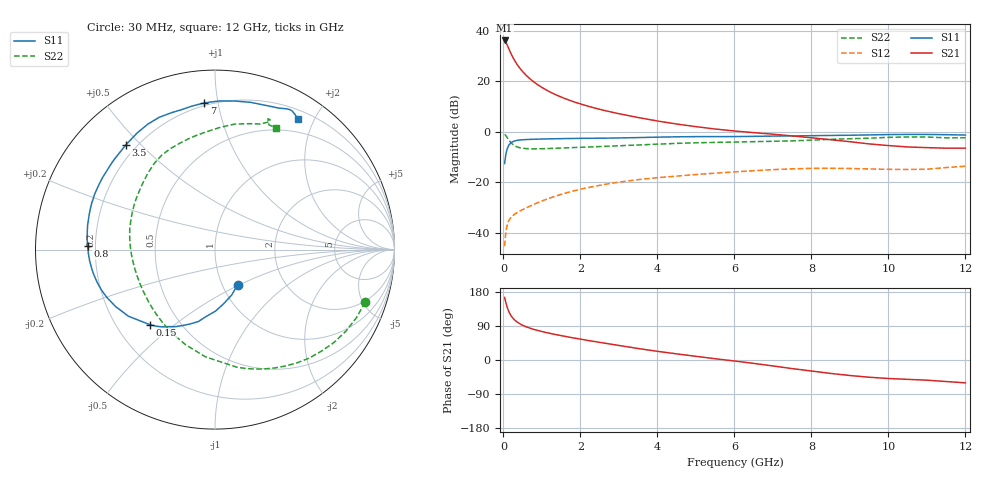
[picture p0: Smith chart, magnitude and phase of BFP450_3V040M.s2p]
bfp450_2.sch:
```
<Qucs Schematic 0.0.19>
<Properties>
  <View=-104,-430,850,1317,0.767173,0,0>
  <Grid=10,10,1>
  <DataSet=bfp450_2.dat>
  <DataDisplay=bfp450_2.dpl>
  <OpenDisplay=1>
  <Script=bfp450_2.m>
  <RunScript=0>
  <showFrame=0>
  <FrameText0=Title>
  <FrameText1=Drawn By:>
  <FrameText2=Date:>
  <FrameText3=Revision:>
</Properties>
<Symbol>
</Symbol>
<Components>
  <SPfile X1 1 310 80 -26 -53 0 0 "BFP450_3V040M.s2p" 1 "rectangular" 0 "linear" 0 "open" 0 "2" 0>
  <GND * 1 310 110 0 0 0 0>
  <L L3 1 250 80 -26 10 0 0 "3.39nH" 1 "" 0>
  <L L10 1 280 10 -87 -26 0 3 "56nH" 1 "" 0>
  <R R7 1 410 -100 15 -26 0 1 "50Ohm" 1 "26.85" 0 "0.0" 0 "0.0" 0 "26.85" 0 "european" 0>
  <R R4 1 530 80 -26 -47 0 2 "3.5Ohm" 1 "26.85" 0 "0.0" 0 "0.0" 0 "26.85" 0 "european" 0>
  <C C10 1 430 80 -52 10 1 2 "41.1255pF" 1 "" 0 "neutral" 0>
  <C C5 1 80 80 -26 -49 0 2 "100n" 1 "" 0 "neutral" 0>
  <Pac P1 1 -10 110 18 -26 0 1 "1" 1 "50 Ohm" 1 "0 dBm" 0 "1 GHz" 0 "26.85" 0>
  <GND * 1 -10 140 0 0 0 0>
  <C C7 1 630 80 -26 -49 0 2 "100n" 1 "" 0 "neutral" 0>
  <GND * 1 120 250 0 0 0 0>
  <R R1 1 120 220 15 -26 0 1 "0.2Ohm" 1 "26.85" 0 "0.0" 0 "0.0" 0 "26.85" 0 "european" 0>
  <C C3 1 120 160 17 -26 0 1 "5.68261pF" 1 "" 0 "neutral" 0>
  <GND * 1 580 230 0 0 0 0>
  <R R3 1 580 200 15 -26 0 1 "3Ohm" 1 "26.85" 0 "0.0" 0 "0.0" 0 "26.85" 0 "european" 0>
  <L L13 1 580 140 -87 -26 0 3 "9.54728nH" 1 "" 0>
  <L L14 1 380 -170 -87 -26 0 3 "1000nH" 1 "" 0>
  <GND * 1 380 -200 0 0 0 2>
  <L L9 1 410 -40 -87 -26 0 3 "50nH" 1 "" 0>
  <GND * 1 560 -160 0 0 0 1>
  <C C8 1 530 -160 -52 10 1 2 "1.6pF" 1 "" 0 "neutral" 0>
  <Pac P5 1 690 110 18 -26 0 1 "2" 1 "50 Ohm" 1 "0 dBm" 0 "1 GHz" 0 "26.85" 0>
  <GND * 1 690 140 0 0 0 0>
  <GND * 1 220 -90 0 0 0 1>
  <R R10 0 190 -90 -26 15 0 0 "4733 Ohm" 1 "26.85" 0 "0.0" 0 "0.0" 0 "26.85" 0 "european" 0>
  <GND * 1 230 -170 0 0 0 1>
  <GND * 1 10 -170 0 0 0 3>
  <GND * 1 120 -230 0 0 0 2>
  <C C6 1 120 -200 -62 -26 0 3 "220n" 1 "" 0 "neutral" 0>
  <R R8 1 40 -170 -26 15 0 0 "87 Ohm" 1 "26.85" 0 "0.0" 0 "0.0" 0 "26.85" 0 "european" 0>
  <R R9 1 200 -170 -26 15 0 0 "213 Ohm" 1 "26.85" 0 "0.0" 0 "0.0" 0 "26.85" 0 "european" 0>
  <R R2 1 170 80 -26 -47 1 0 "0.20 Ohm" 1 "26.85" 0 "0.0" 0 "0.0" 0 "26.85" 0 "european" 0>
  <.SP SP1 1 -10 300 0 74 0 0 "lin" 1 "0.03 GHz" 1 "12 GHz" 1 "2000" 1 "yes" 0 "1" 0 "2" 0 "no" 0 "no" 0>
  <Eqn Eqn1 1 160 310 -28 15 0 0 "K=StabFactor(S)" 1 "S11dB=dB(S[1,1])" 1 "S21dB=dB(S[2,1])" 1 "S22dB=dB(S[2,2])" 1 "Fmindb=w2dbm(Fmin)-30" 1 "Fdb=w2dbm(F)-30" 1 "yes" 0>
  <.SP SP2 0 290 270 0 74 0 0 "const" 1 "0.03 GHz" 0 "12 GHz" 0 "[900MHz]" 1 "yes" 0 "1" 0 "2" 0 "no" 0 "no" 0>
  <Eqn Eqn2 0 480 270 -28 15 0 0 "GA=GaCircle(S,linspace(50,200,16))" 1 "GP=GpCircle(S,linspace(50,200,16))" 1 "SL=StabCircleL(S)" 1 "SG=StabCircleS(S)" 1 "NF=NoiseCircle(Sopt,Fmin,Rn,[Fmin,1.4,1.5,2,2.5,3])" 1 "yes" 0>
</Components>
<Wires>
  <280 40 280 80 "" 0 0 0 "">
  <560 80 580 80 "" 0 0 0 "">
  <340 80 380 80 "" 0 0 0 "">
  <460 80 500 80 "" 0 0 0 "">
  <200 80 220 80 "" 0 0 0 "">
  <120 80 140 80 "" 0 0 0 "">
  <110 80 120 80 "" 0 0 0 "">
  <-10 80 50 80 "" 0 0 0 "">
  <120 80 120 130 "" 0 0 0 "">
  <580 80 600 80 "" 0 0 0 "">
  <580 80 580 110 "" 0 0 0 "">
  <380 -70 410 -70 "" 0 0 0 "">
  <380 -140 380 -70 "" 0 0 0 "">
  <410 -160 500 -160 "" 0 0 0 "">
  <410 -160 410 -130 "" 0 0 0 "">
  <380 80 400 80 "" 0 0 0 "">
  <380 -10 380 80 "" 0 0 0 "">
  <380 -10 410 -10 "" 0 0 0 "">
  <660 80 690 80 "" 0 0 0 "">
  <120 -20 280 -20 "" 0 0 0 "">
  <120 -90 120 -20 "" 0 0 0 "">
  <120 -90 160 -90 "" 0 0 0 "">
  <120 -170 120 -90 "" 0 0 0 "">
  <70 -170 120 -170 "" 0 0 0 "">
  <120 -170 170 -170 "" 0 0 0 "">
</Wires>
<Diagrams>
</Diagrams>
<Paintings>
  <Text 230 20 12 #000000 0 "0.87V">
  <Text 420 -210 12 #000000 0 "This is the 3V supply">
  <Text 150 -240 12 #000000 0 "Voltage divider to \ndivide 3V to 0.87V">
  <Text 30 -9 12 #000000 90 "Alternatively \ndrop to 0.87V\nby passing \n0.45mA">
  <Text 100 -330 14 #000000 0 "Transistor Amplifier with Matching Networks\nand Biasing.">
  <Text 540 260 12 #ff0000 0 "Deactivate, if simulation other than\nSP2 is used">
</Paintings>
```
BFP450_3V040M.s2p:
! Infineon Technologies  Discrete & RF Semiconductors
! BFP450
! VCE =  3.0 V,  IC =  40 mA
! Common Emitter S-Parameters:  Sep 2010
# GHz  S  MA  R  50
!  f  S11  S21  S12  S22
! GHz  MAG  ANG  MAG  ANG  MAG  ANG  MAG  ANG
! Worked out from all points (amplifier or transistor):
!   58 points, 30 MHz to 12 GHz, reference 50 ohm
!   highest |S21| = 36.2 dB at 30 MHz (marker M1)
!   |S21| within 3 dB of that: start of sweep to 130.9 MHz
!   unconditionally stable (mu >= 1): 1.283 GHz to end of sweep
!   at 120 MHz: K = 0.27, MSG = 34.8 dB, |S12| = -36.0 dB
!   at 1.5 GHz: K = 1.03, MAG = 18.1 dB, |S12| = -24.8 dB
!   at 12 GHz: K = 1.09, MAG = 1.7 dB, |S12| = -13.6 dB
!   lowest NFmin = 1.41 dB at 450 MHz
!   S11 on the Smith chart (normalised r, x): 30 MHz: 1.18, -0.49; 150 MHz: 0.34, -0.41; 800 MHz: 0.17, +0.01; 3.5 GHz: 0.16, +0.45; 7 GHz: 0.18, +0.91; 12 GHz: 0.32, +1.78
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0.03  0.2335 -57.5  64.36 165.3  0.0054 76.0  0.8866 -19.3
0.08  0.411 -103.0  55.8 145.0  0.0123 62.8  0.8006 -49.0
0.15  0.5538 -131.0  42.21 125.6  0.0179 51.2  0.6664 -79.5
0.25  0.6383 -150.2  29.29 110.0  0.022 45.0  0.5543 -107.3
0.35  0.6725 -160.7  21.81 100.7  0.0248 44.1  0.5021 -125.1
0.8  0.7102 178.5  9.557 80.4  0.0367 48.5  0.4581 -161.5
1.7  0.7342 159.2  4.247 60.5  0.0635 48.6  0.482 170.6
3.5  0.7657 130.6  1.911 30.3  0.1124 32.1  0.5462 137.6
6.5  0.8094 99.3  0.96 -8.9  0.1689 3.3  0.6358 103.1
7  0.8196 94.2  0.893 -15.7  0.1774 -2.2  0.6461 98.7
12  0.8604 57.5  0.473 -60.3  0.2079 -40.6  0.7588 63.6
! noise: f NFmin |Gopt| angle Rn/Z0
0.45  1.41  0.49  -173  0.06
0.9  1.48  0.51  -169  0.07
1.9  1.59  0.57  -153  0.1
2.4  1.69  0.58  -145  0.12

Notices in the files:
qucs-doc/tutorial/sparameteramp/S_PARAM_AMP_prj/BFP450_3V040M.s2p:
(c) 2010  Infineon Technologies AG, Munich
